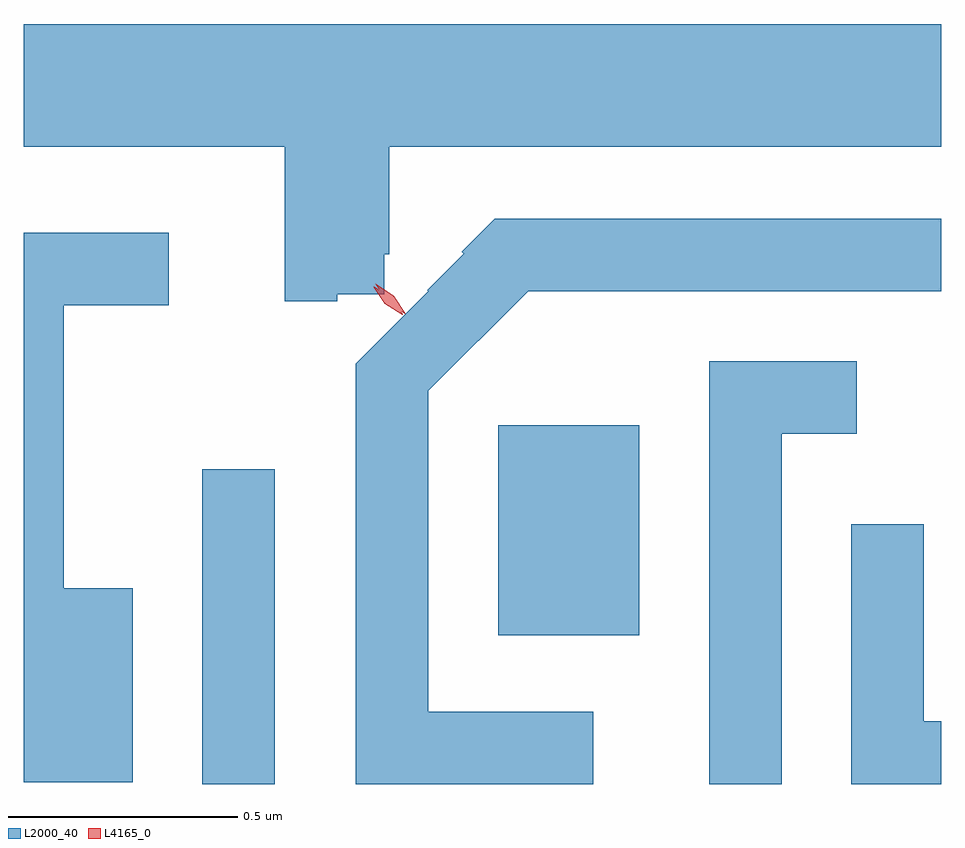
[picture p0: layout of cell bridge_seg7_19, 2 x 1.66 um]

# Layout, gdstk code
import gdstk
lib = gdstk.Library(unit=1e-6, precision=1e-09)
def R(c, l, rs):  # rectangles x0, y0, x1, y1
    for r in rs: c.add(gdstk.rectangle(r[:2], r[2:], *l))
def P(c, l, *ps):  # polygons
    for p in ps: c.add(gdstk.Polygon(p, *l))
L2000_40 = (2000, 40)
L4165_0 = (4165, 0)

bridge_seg7_19 = lib.new_cell('bridge_seg7_19')
R(bridge_seg7_19, L2000_40, [(1728.306,1790.627,1728.464,1791.313), (1728.951,1790.951,1729.259,1791.409)])
P(bridge_seg7_19, L2000_40, [(1728.6,1791.695),(1728.703,1791.695),(1728.703,1791.782),(1728.714,1791.782),(1728.714,1792.016),(1729.917,1792.016),(1729.917,1792.284),(1727.917,1792.284),(1727.917,1792.016),(1728.486,1792.016),(1728.486,1791.679),(1728.6,1791.679)],
  [(1729.158,1790.784),(1728.799,1790.784),(1728.799,1791.484),(1729.017,1791.701),(1729.917,1791.701),(1729.917,1791.859),(1728.944,1791.859),(1728.872,1791.787),(1728.876,1791.783),(1728.797,1791.704),(1728.799,1791.701),(1728.641,1791.543),(1728.641,1790.627),(1729.158,1790.627)],
  [(1728.154,1791.054),(1728.004,1791.054),(1728.004,1791.671),(1728.233,1791.671),(1728.233,1791.829),(1727.917,1791.829),(1727.917,1790.631),(1728.154,1790.631)],
  [(1729.569,1791.391),(1729.733,1791.391),(1729.733,1791.549),(1729.411,1791.549),(1729.411,1790.627),(1729.569,1790.627)],
  [(1729.917,1790.764),(1729.879,1790.764),(1729.879,1791.193),(1729.721,1791.193),(1729.721,1790.627),(1729.917,1790.627)])
P(bridge_seg7_19, L4165_0, [(1728.748,1791.652),(1728.709,1791.678),(1728.684,1791.717),(1728.684,1791.718),(1728.684,1791.718),(1728.723,1791.692),(1728.749,1791.653),(1728.749,1791.652)],
  [(1728.742,1791.65),(1728.704,1791.674),(1728.68,1791.71),(1728.68,1791.711),(1728.681,1791.711),(1728.718,1791.688),(1728.743,1791.651),(1728.743,1791.65)])

lib.write_gds('bridge_seg7_19.gds')
